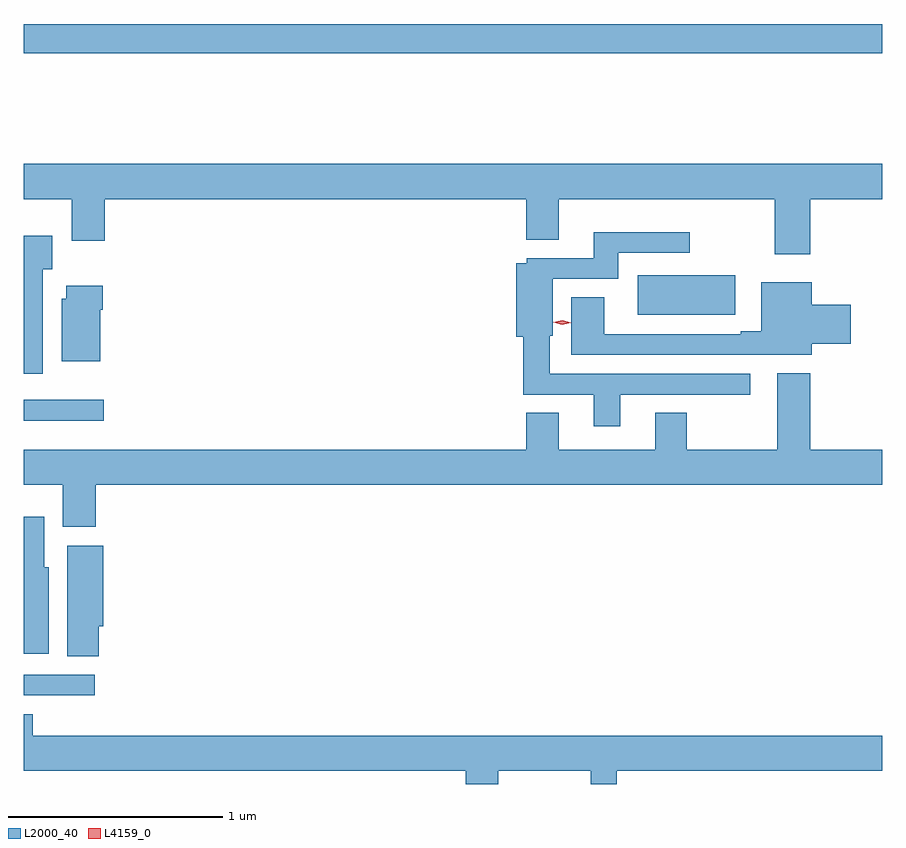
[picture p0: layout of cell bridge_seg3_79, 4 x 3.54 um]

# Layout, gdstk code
import gdstk
lib = gdstk.Library(unit=1e-6, precision=1e-09)
def R(c, l, rs):  # rectangles x0, y0, x1, y1
    for r in rs: c.add(gdstk.rectangle(r[:2], r[2:], *l))
def P(c, l, *ps):  # polygons
    for p in ps: c.add(gdstk.Polygon(p, *l))
L2000_40 = (2000, 40)
L4159_0 = (4159, 0)

bridge_seg3_79 = lib.new_cell('bridge_seg3_79')
R(bridge_seg3_79, L2000_40, [(470.175,689.28,470.506,689.376), (470.175,690.56,470.548,690.657), (470.175,692.272,474.175,692.408)])
P(bridge_seg3_79, L2000_40, [(473.84,691.592),(474.175,691.592),(474.175,691.756),(470.175,691.756),(470.175,691.592),(470.399,691.592),(470.399,691.398),(470.552,691.398),(470.552,691.592),(472.517,691.592),(472.517,691.402),(472.669,691.402),(472.669,691.592),(473.675,691.592),(473.675,691.335),(473.84,691.335)],
  [(472.954,690.681),(473.56,690.681),(473.56,690.777),(472.627,690.777),(472.627,690.954),(472.639,690.954),(472.639,691.221),(472.945,691.221),(472.945,691.341),(473.278,691.341),(473.278,691.438),(472.832,691.438),(472.832,691.317),(472.518,691.317),(472.518,691.294),(472.469,691.294),(472.469,690.95),(472.502,690.95),(472.502,690.681),(472.832,690.681),(472.832,690.534),(472.954,690.534)],
  [(470.263,691.266),(470.308,691.266),(470.308,691.42),(470.175,691.42),(470.175,690.777),(470.263,690.777)],
  [(473.387,691.053),(473.49,691.053),(473.49,691.237),(473.036,691.237),(473.036,691.052),(473.387,691.052)],
  [(473.848,690.917),(474.028,690.917),(474.028,691.1),(473.848,691.1),(473.848,691.204),(473.612,691.204),(473.612,690.977),(473.516,690.977),(473.516,690.963),(472.879,690.963),(472.879,691.135),(472.727,691.135),(472.727,690.867),(473.848,690.867)],
  [(470.53,691.076),(470.543,691.076),(470.543,691.189),(470.372,691.189),(470.372,691.128),(470.351,691.128),(470.351,690.836),(470.53,690.836)],
  [(470.51,690.26),(474.175,690.26),(474.175,690.424),(473.84,690.424),(473.84,690.781),(473.687,690.781),(473.687,690.424),(473.265,690.424),(473.265,690.596),(473.117,690.596),(473.117,690.424),(472.669,690.424),(472.669,690.596),(472.517,690.596),(472.517,690.424),(470.175,690.424),(470.175,690.26),(470.357,690.26),(470.357,690.066),(470.51,690.066)],
  [(470.29,689.877),(470.269,689.877),(470.269,690.112),(470.175,690.112),(470.175,689.474),(470.29,689.474)],
  [(470.525,689.601),(470.546,689.601),(470.546,689.977),(470.378,689.977),(470.378,689.461),(470.525,689.461)],
  [(472.387,688.928),(472.817,688.928),(472.817,688.866),(472.939,688.866),(472.939,688.928),(474.175,688.928),(474.175,689.092),(470.216,689.092),(470.216,689.191),(470.175,689.191),(470.175,688.928),(472.235,688.928),(472.235,688.866),(472.387,688.866)])
P(bridge_seg3_79, L4159_0, [(472.684,691.007),(472.643,691.017),(472.643,691.017),(472.643,691.017),(472.684,691.027),(472.725,691.016),(472.725,691.016),(472.725,691.016)])

lib.write_gds('bridge_seg3_79.gds')
